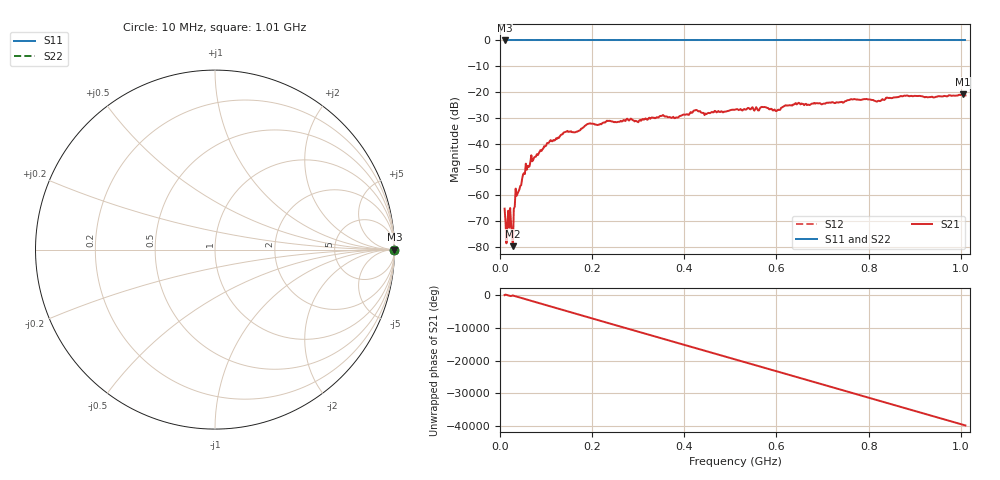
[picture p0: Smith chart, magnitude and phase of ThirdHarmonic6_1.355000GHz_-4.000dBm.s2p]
! 8/16/2025 3:16:08 PM
! C:\ANRITSUVNA\TEMP\TEMP.S2P
! CHANNEL.1
! TR.MEASUREMENT
! RAW.DATA
! RF.CORRECTION.OFF
! AVERAGING.OFF
! IF.BANDWIDTH: 5KHZ
! SWEEPTYPE:  FREQ.SWEEP(Linear)
! Reference Plane Port Info
! PORT:  PORT1  PORT2
! DISTANCE:  0  m  0  m
! TIME:  0  s  0  s
! PHASE.OFFSET:  0  deg.  0  deg.
! LOSS:  0  dB  0  dB
! REF.LOSS:  0  dB  0  dB
! REF.FREQ:  0  Hz  0  Hz
! Power Info
! POWER:  -20  dBm  -20  dBm
! EFF.POWER:  -20  dBm  -20  dBm
! SOURCE.ATTEN:  0  dB  0  dB
! TEST.ATTEN:  0  dB  0  dB
# GHZ S RI R 50.0
! FREQ.GHZ  S11RE  S11IM  S21RE  S21IM  S12RE  S12IM  S22RE  S22IM
!; PortSelection: Port_12
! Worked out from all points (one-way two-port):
!   501 points, 10 MHz to 1.01 GHz, reference 50 ohm
!   highest |S21| = -20.89 dB at 1.004 GHz (marker M1); lowest = -79.8 dB at 28 MHz (marker M2)
!   lowest |S11| = 0.0 dB at 10 MHz (marker M3)
!   |S11| at or under -10 dB: nowhere
!   |S22| runs from 0.0 to 0.0 dB; largest |S21 - S12| = 1.1
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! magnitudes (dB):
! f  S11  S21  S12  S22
! 10 MHz  0.0  -65.2  0.0  0.0
! 16 MHz  0.0  -71.4  0.0  0.0
! 20 MHz  0.0  -72.6  0.0  0.0
! 24 MHz  0.0  -71.1  0.0  0.0
! 28 MHz  0.0  -79.8  0.0  0.0
! 34 MHz  0.0  -57.5  0.0  0.0
! 38 MHz  0.0  -59.4  0.0  0.0
! 52 MHz  0.0  -51.4  0.0  0.0
! 70 MHz  0.0  -46.9  0.0  0.0
! 106 MHz  0.0  -39.7  0.0  0.0
! 142 MHz  0.0  -35.5  0.0  0.0
! 178 MHz  0.0  -34.1  0.0  0.0
! 194 MHz  0.0  -32.3  0.0  0.0
! 344 MHz  0.0  -29.9  0.0  0.0
! 510 MHz  0.0  -26.9  0.0  0.0
! 572 MHz  0.0  -25.8  0.0  0.0
! 602 MHz  0.0  -27.1  0.0  0.0
! 620 MHz  0.0  -25.1  0.0  0.0
! 678 MHz  0.0  -24.5  0.0  0.0
! 844 MHz  0.0  -22.4  0.0  0.0
! 1.004 GHz  0.0  -20.9  0.0  0.0
! 1.01 GHz  0.0  -21.3  0.0  0.0
